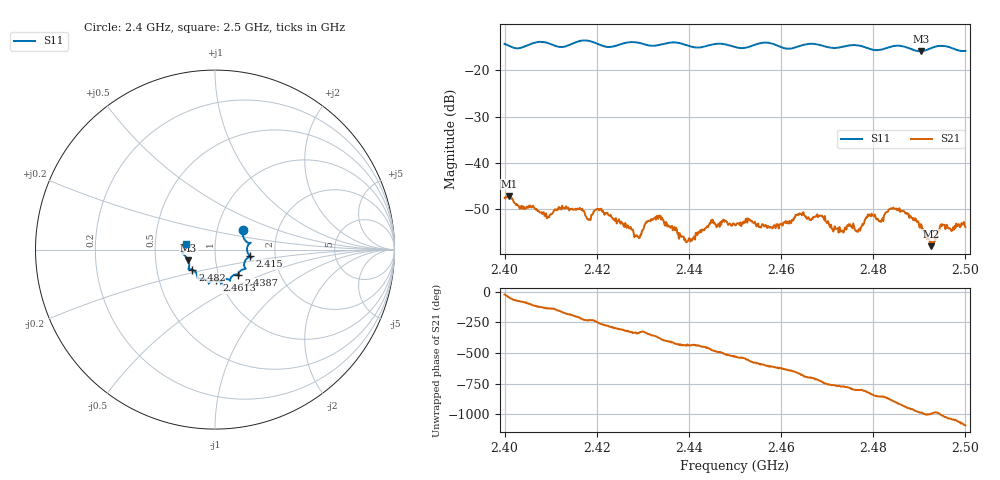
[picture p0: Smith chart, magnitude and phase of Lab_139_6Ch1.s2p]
# Hz S RI R
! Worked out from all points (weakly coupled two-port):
!   601 points, 2.4 GHz to 2.5 GHz, reference 50 ohm
!   highest |S21| = -47.11 dB at 2.401 GHz (marker M1); lowest = -58.0 dB at 2.4925 GHz (marker M2)
!   lowest |S11| = -15.9 dB at 2.4903 GHz (marker M3), VSWR 1.38, Z = 36.8 - j4.46 ohm
!   |S11| at or under -10 dB: start of sweep to end of sweep
!   S12 and S22 are empty: the file has one direction only
!   S11 on the Smith chart (normalised r, x): 2.4 GHz: 1.33, +0.31; 2.415 GHz: 1.47, -0.11; 2.4387 GHz: 1.24, -0.36; 2.4613 GHz: 0.96, -0.34; 2.482 GHz: 0.76, -0.17; 2.5 GHz: 0.72, +0.05
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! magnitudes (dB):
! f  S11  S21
! 2.4 GHz  -14.3  -47.5
! 2.401 GHz  -14.7  -47.1
! 2.4092 GHz  -14.1  -52.0
! 2.415 GHz  -14.1  -50.1
! 2.4167 GHz  -13.6  -50.2
! 2.4182 GHz  -13.6  -52.1
! 2.4208 GHz  -14.6  -50.1
! 2.4287 GHz  -14.0  -55.6
! 2.4333 GHz  -14.6  -52.1
! 2.4387 GHz  -14.3  -55.9
! 2.445 GHz  -14.5  -52.9
! 2.45 GHz  -15.0  -53.4
! 2.4613 GHz  -15.3  -53.0
! 2.4667 GHz  -14.3  -52.0
! 2.473 GHz  -15.0  -54.6
! 2.4793 GHz  -15.4  -51.2
! 2.482 GHz  -15.5  -51.9
! 2.4833 GHz  -15.0  -50.1
! 2.4903 GHz  -15.9  -53.2
! 2.4925 GHz  -15.2  -58.0
! 2.495 GHz  -14.7  -53.2
! 2.5 GHz  -15.8  -53.8
